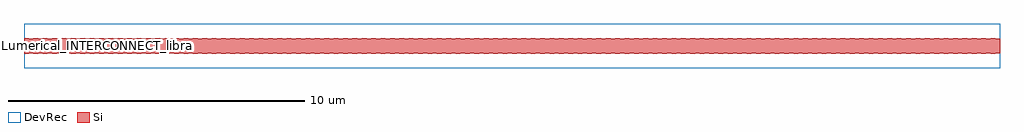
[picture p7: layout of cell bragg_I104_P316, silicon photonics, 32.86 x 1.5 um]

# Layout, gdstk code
import gdstk
lib = gdstk.Library(unit=1e-6, precision=1e-09)
def R(c, l, rs):  # rectangles x0, y0, x1, y1
    for r in rs: c.add(gdstk.rectangle(r[:2], r[2:], *l))
def A(c, l, x, y, w, h, nx, ny, dx, dy):  # array of equal rectangles
    R(c, l, [(x+i*dx, y+j*dy, x+i*dx+w, y+j*dy+h) for i in range(nx) for j in range(ny)])
Si = (1, 0)
DevRec = (68, 0)

bragg_i104_p316 = lib.new_cell('bragg_I104_P316')
A(bragg_i104_p316, Si, 0, -0.26, 0.158, 0.26, 104, 2, 0.316, 0.26)
A(bragg_i104_p316, Si, 0.158, -0.24, 0.158, 0.24, 104, 2, 0.316, 0.24)
R(bragg_i104_p316, DevRec, [(0,-0.75,32.864,0.75)])
bragg_i104_p316.add(gdstk.Label('Lumerical_INTERCONNECT_library=Design kits/ebeam', (0,0), layer=68, texttype=0))
bragg_i104_p316.add(gdstk.Label('Component=ebeam_bragg_te1550', (3.286,0), layer=68, texttype=0))
bragg_i104_p316.add(gdstk.Label('Spice_param:number_of_periods=104 grating_period=3.16e-07 corrugation_width=2e-08 misalignment=0 sinusoidal=0', (3.651,0), layer=68, texttype=0))

lib.write_gds('bragg_I104_P316.gds')
